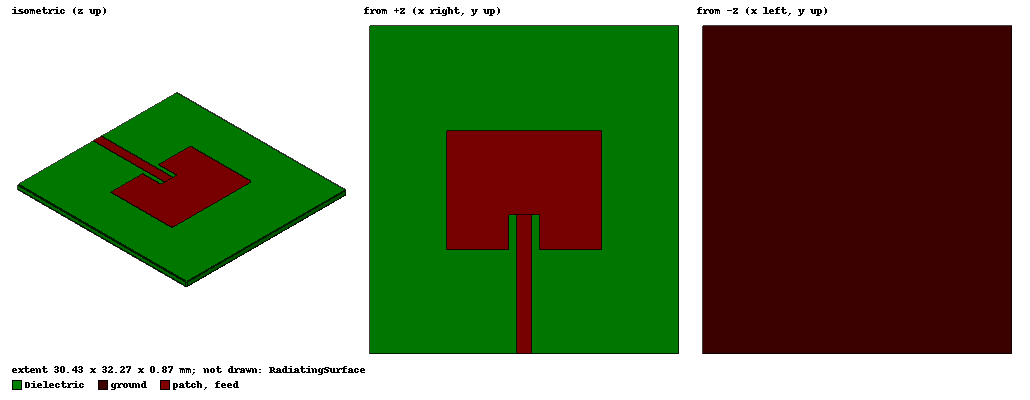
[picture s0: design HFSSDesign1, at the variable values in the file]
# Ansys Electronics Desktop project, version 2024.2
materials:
  vacuum: permittivity=1
  copper: permeability=0.999991 conductivity=58000000
  FR4_epoxy: permittivity=4.4 dielectric_loss_tangent=0.02

design HFSSDesign1 (HFSS, HFSS Modal Network, model units mm)
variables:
  t_diel = 0.8mm
  l_feed = 13.7mm
  w_feed = 1.53mm
  t = 0.035mm
  L = 11.72mm
  W = 15.214mm
  w_g = 2*W
  l_g = 1.5*l_feed+L
  t_g = t
  partial = 0.4
  L_offset = partial*L/2
  w_slot = 2*w_feed
  L_slot = L/2-L_offset
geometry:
  ground [copper] = box(corner=(-w_g/2, 0mm, 0mm), size=(w_g, l_g, t_g))
  coordinate_system DeilBase = origin=(0mm, 0mm, t) x=(1mm, 0mm, 0mm) y=(0mm, 1mm, 0mm)
  Dielectric [FR4_epoxy] = box(corner=(-w_g/2, 0mm, 0mm), size=(w_g, l_g, t_diel)) in DeilBase
  coordinate_system DeilTop = origin=(0mm, 0mm, t_diel) x=(1mm, 0mm, 0mm) y=(0mm, 1mm, 0mm) in DeilBase
  feed [copper] = box(corner=(-w_feed/2, 0mm, 0mm), size=(w_feed, l_feed, t)) in DeilTop
  coordinate_system FeedPoint = origin=(0mm, l_feed, 0mm) x=(1mm, 0mm, 0mm) y=(0mm, 1mm, 0mm) in DeilTop
  coordinate_system AntennaStart = origin=(0mm, -L_slot, 0mm) x=(1mm, 0mm, 0mm) y=(0mm, 1mm, 0mm) in FeedPoint
  cut = box(corner=(-W_slot /2, 0, 0), size=(w_slot, L_slot, t)) in AntennaStart
  patch [copper] = box(corner=(-W/2, 0mm, 0mm), size=(W, L, t)) in AntennaStart
  patch.subtract(cut)
  Rectangle1 = rectangle(corner=(-w_feed/2, 0mm, 0mm), z_size=t_g+t+t_diel, x_size=w_feed)
  RadiatingSurface [vacuum] = region(absolute_offset=16.666667mm on all sides)
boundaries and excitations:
  Open1: Radiation Objects=RadiatingSurface
  1: Lumped Port Objects=Rectangle1 LumpedPortType=Modal Modes{Mode1{IntLine{(0, 0, 0) -> (0, 0, 0.835)} CharImp=Zpi RenormImp=50ohm}} Impedance=50ohm
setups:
  Setup1: HfssDriven MultipleAdaptiveFreqsSetup{Low=4GHz High=8GHz} MaxDeltaS=0.02 MaximumPasses=12 MinimumPasses=1 MinimumConvergedPasses=1 PercentRefinement=30 BasisOrder=1 PortAccuracy=2 DrivenSolverType="Direct Solver"
    sweep Sweep: 4GHz to 8GHz, 401 points; Type=Interpolating InterpTolerance=0.5 InterpMaxSolns=250 InterpUsePortImped=false PassivityErrorTolerance=0.0001
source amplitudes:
  1:1: 1V 0deg
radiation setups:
  3D: Infinite Sphere Theta=0deg..180deg step 2deg Phi=-180deg..180deg step 2deg
  Elevation: Infinite Sphere Theta=-180deg..180deg step 1deg Phi=0deg..90deg step 90deg
  Azimuth: Infinite Sphere Theta=90deg..90deg step 0deg Phi=-180deg..180deg step 1deg
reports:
  S Parameter Plot 1: dB(S(1,1)) vs Freq on Setup1 : Sweep; markers MY1 at y=-10.0218
  Gain Plot 1: dB(GainTotal) vs Phi, Theta on Setup1 : LastAdaptive, 3D [Freq=6GHz]
